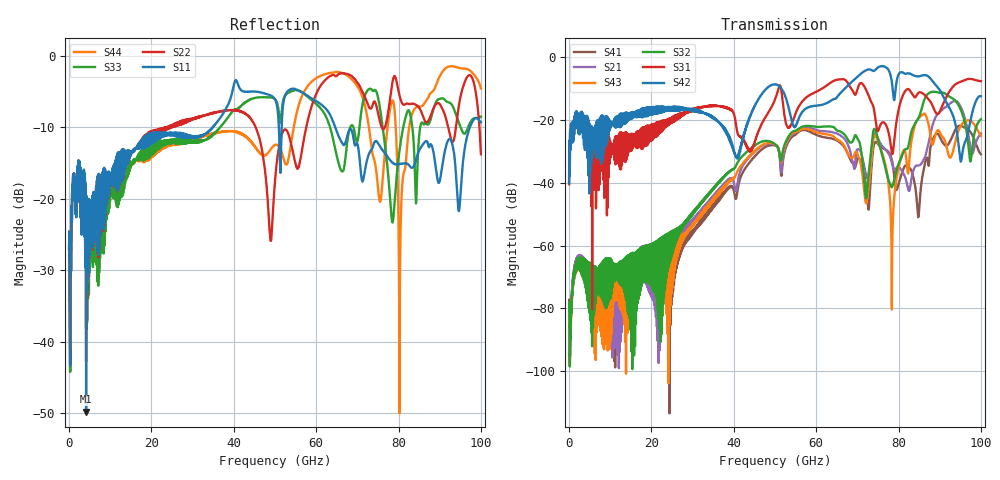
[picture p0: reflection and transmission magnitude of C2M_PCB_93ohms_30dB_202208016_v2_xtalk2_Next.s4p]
! Info: Touchstone file created by Circ.  Input file=Intel_C2M_200G_13p5in_202208016_staggered.circ
# Hz S RI R 50
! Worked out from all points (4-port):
!   10000 points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, 10 MHz to 100 GHz, reference 50 ohm
!   strongest paths, dB at 10 MHz, 25.01 GHz, 50.01 GHz, 75.01 GHz, 100 GHz:
!     S42: -40.2, -16.8, -8.7, -3.4, -12.5
!     S31: -40.5, -20.6, -13.6, -23.6, -7.7
!     S32: -78.0, -60.7, -27.8, -26.1, -19.8
!     S43: -86.1, -65.6, -27.9, -26.8, -25.1
!     S21: -78.9, -63.3, -28.0, -26.0, -24.4
!     S41: -95.0, -67.3, -28.2, -27.7, -31.0
!   lowest |S11| = -49.8 dB at 4.14 GHz (marker M1), VSWR 1.01, Z = 50.3 + j0.185 ohm
!   |S11| at or under -10 dB: start of sweep to 34.9 GHz; 50.94 GHz to 51.62 GHz (682.7 MHz wide, 1.33 % of centre); 64.63 GHz to 97.33 GHz (32.69 GHz wide, 40.4 % of centre)
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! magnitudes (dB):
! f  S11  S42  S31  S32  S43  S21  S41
! 10 MHz  -26.9  -40.2  -40.5  -78.0  -86.1  -78.9  -95.0
! 4.14 GHz  -49.8  -18.9  -20.9  -64.7  -67.5  -65.0  -67.2
! 56.44 GHz  -5.0  -17.8  -14.5  -22.3  -23.0  -22.4  -23.4
! 74.54 GHz  -11.9  -3.9  -21.3  -23.9  -25.3  -24.7  -27.1
! 78.42 GHz  -14.9  -8.4  -30.7  -41.4  -66.3  -33.8  -33.0
! 85.07 GHz  -13.2  -6.2  -11.3  -18.8  -19.3  -34.5  -47.3
! 100 GHz  -9.3  -12.5  -7.7  -19.8  -25.1  -24.4  -31.0
